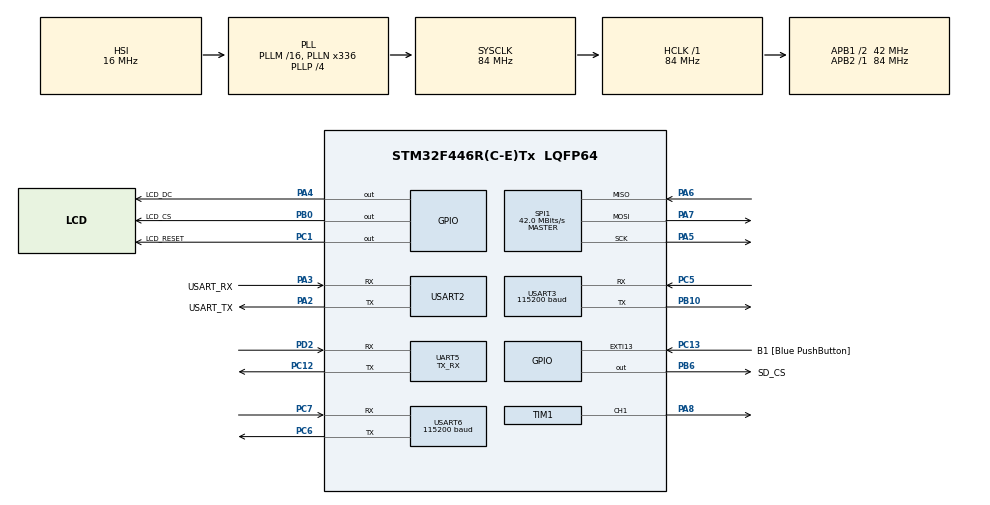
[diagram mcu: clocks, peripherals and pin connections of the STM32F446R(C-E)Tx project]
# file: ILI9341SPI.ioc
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Dma.Request0=USART3_RX
Dma.Request1=USART6_RX
Dma.USART3_RX.0.Direction=DMA_PERIPH_TO_MEMORY
Dma.USART3_RX.0.FIFOMode=DMA_FIFOMODE_DISABLE
Dma.USART3_RX.0.Instance=DMA1_Stream1
Dma.USART3_RX.0.MemDataAlignment=DMA_MDATAALIGN_BYTE
Dma.USART3_RX.0.MemInc=DMA_MINC_ENABLE
Dma.USART3_RX.0.Mode=DMA_NORMAL
Dma.USART3_RX.0.PeriphDataAlignment=DMA_PDATAALIGN_BYTE
Dma.USART3_RX.0.PeriphInc=DMA_PINC_DISABLE
Dma.USART3_RX.0.Priority=DMA_PRIORITY_LOW
Dma.USART6_RX.1.Direction=DMA_PERIPH_TO_MEMORY
Dma.USART6_RX.1.FIFOMode=DMA_FIFOMODE_DISABLE
Dma.USART6_RX.1.Instance=DMA2_Stream1
Dma.USART6_RX.1.MemDataAlignment=DMA_MDATAALIGN_BYTE
Dma.USART6_RX.1.MemInc=DMA_MINC_ENABLE
Dma.USART6_RX.1.Mode=DMA_NORMAL
Dma.USART6_RX.1.PeriphDataAlignment=DMA_PDATAALIGN_BYTE
Dma.USART6_RX.1.PeriphInc=DMA_PINC_DISABLE
Dma.USART6_RX.1.Priority=DMA_PRIORITY_LOW
Mcu.Family=STM32F4
Mcu.Name=STM32F446R(C-E)Tx
Mcu.Package=LQFP64
NVIC.DMA1_Stream1_IRQn=true\:0\:0\:false\:false\:true\:false\:true\:true
NVIC.DMA2_Stream1_IRQn=true\:0\:0\:false\:false\:true\:false\:true\:true
NVIC.PriorityGroup=NVIC_PRIORITYGROUP_0
NVIC.TIM2_IRQn=true\:0\:0\:false\:false\:true\:true\:true\:true
NVIC.USART3_IRQn=true\:0\:0\:false\:false\:true\:true\:true\:true
NVIC.USART6_IRQn=true\:0\:0\:false\:false\:true\:true\:true\:true
PA13.GPIO_Label=TMS
PA13.Mode=Serial_Wire
PA13.Signal=SYS_JTMS-SWDIO
PA14.GPIO_Label=TCK
PA14.Mode=Serial_Wire
PA14.Signal=SYS_JTCK-SWCLK
PA2.GPIO_Label=USART_TX
PA2.Mode=Asynchronous
PA2.Signal=USART2_TX
PA3.GPIO_Label=USART_RX
PA3.Mode=Asynchronous
PA3.Signal=USART2_RX
PA4.GPIO_Label=LCD_DC
PA4.GPIO_Speed=GPIO_SPEED_FREQ_MEDIUM
PA4.Signal=GPIO_Output
PA5.Mode=Full_Duplex_Master
PA5.Signal=SPI1_SCK
PA6.Mode=Full_Duplex_Master
PA6.Signal=SPI1_MISO
PA7.Mode=Full_Duplex_Master
PA7.Signal=SPI1_MOSI
PA8.Signal=S_TIM1_CH1
PB0.GPIO_Label=LCD_CS
PB0.GPIO_Speed=GPIO_SPEED_FREQ_MEDIUM
PB0.Signal=GPIO_Output
PB10.Mode=Asynchronous
PB10.Signal=USART3_TX
PB3.GPIO_Label=SWO
PB3.Signal=SYS_JTDO-SWO
PB6.GPIO_Label=SD_CS
PB6.GPIO_Speed=GPIO_SPEED_FREQ_MEDIUM
PB6.Signal=GPIO_Output
PC1.GPIO_Label=LCD_RESET
PC1.GPIO_Speed=GPIO_SPEED_FREQ_MEDIUM
PC1.Signal=GPIO_Output
PC12.Mode=Asynchronous
PC12.Signal=UART5_TX
PC13.GPIO_Label=B1 [Blue PushButton]
PC13.GPIO_ModeDefaultEXTI=GPIO_MODE_IT_FALLING
PC13.Signal=GPXTI13
PC14-OSC32_IN.Mode=LSE-External-Oscillator
PC14-OSC32_IN.Signal=RCC_OSC32_IN
PC15-OSC32_OUT.Mode=LSE-External-Oscillator
PC15-OSC32_OUT.Signal=RCC_OSC32_OUT
PC5.Mode=Asynchronous
PC5.Signal=USART3_RX
PC6.Mode=Asynchronous
PC6.Signal=USART6_TX
PC7.Mode=Asynchronous
PC7.Signal=USART6_RX
PD2.Mode=Asynchronous
PD2.Signal=UART5_RX
PH0-OSC_IN.Mode=HSE-External-Oscillator
PH0-OSC_IN.Signal=RCC_OSC_IN
PH1-OSC_OUT.Mode=HSE-External-Oscillator
PH1-OSC_OUT.Signal=RCC_OSC_OUT
ProjectManager.HeapSize=0x200
ProjectManager.StackSize=0x400
ProjectManager.TargetToolchain=STM32CubeIDE
RCC.48MHZClocksFreq_Value=84000000
RCC.AHBFreq_Value=84000000
RCC.APB1CLKDivider=RCC_HCLK_DIV2
RCC.APB1Freq_Value=42000000
RCC.APB1TimFreq_Value=84000000
RCC.APB2Freq_Value=84000000
RCC.APB2TimFreq_Value=84000000
RCC.CortexFreq_Value=84000000
RCC.FLatency-AdvancedSettings=FLASH_LATENCY_2
RCC.HCLKFreq_Value=84000000
RCC.HSE_VALUE=8000000
RCC.HSI_VALUE=16000000
RCC.PLLN=336
RCC.PLLP=RCC_PLLP_DIV4
RCC.SYSCLKFreq_VALUE=84000000
RCC.SYSCLKSource=RCC_SYSCLKSOURCE_PLLCLK
RCC.USBFreq_Value=168000000
RCC.VCOOutputFreq_Value=336000000
SH.S_TIM1_CH1.0=TIM1_CH1,PWM Generation1 CH1
SPI1.BaudRatePrescaler=SPI_BAUDRATEPRESCALER_2
SPI1.CalculateBaudRate=42.0 MBits/s
SPI1.Direction=SPI_DIRECTION_2LINES
SPI1.Mode=SPI_MODE_MASTER
SPI1.VirtualType=VM_MASTER
TIM1.Channel-PWM\ Generation1\ CH1=TIM_CHANNEL_1
TIM1.Period=100-1
TIM1.Pulse-PWM\ Generation1\ CH1=50
TIM2.AutoReloadPreload=TIM_AUTORELOAD_PRELOAD_ENABLE
TIM2.Period=999
TIM2.Prescaler=83
TIM2.TIM_MasterOutputTrigger=TIM_TRGO_UPDATE
UART5.Mode=MODE_TX_RX
UART5.OverSampling=UART_OVERSAMPLING_8
UART5.VirtualMode=Asynchronous
USART2.VirtualMode=VM_ASYNC
USART3.BaudRate=115200
USART3.Mode=MODE_RX
USART3.OverSampling=UART_OVERSAMPLING_8
USART3.VirtualMode=VM_ASYNC
USART6.BaudRate=115200
USART6.Mode=MODE_RX
USART6.OverSampling=UART_OVERSAMPLING_8
USART6.VirtualMode=VM_ASYNC
VP_TIM1_VS_ClockSourceINT.Mode=Internal
VP_TIM2_VS_ClockSourceINT.Mode=Internal
board=NUCLEO-F446RE

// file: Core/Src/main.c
/* USER CODE BEGIN Header */
/**
 ******************************************************************************
 * @file           : main.c
 * @brief          : Main program body
 ******************************************************************************
 * @attention
 *
 * Copyright (c) 2024 STMicroelectronics.
 * All rights reserved.
 *
 * This software is licensed under terms that can be found in the LICENSE file
 * in the root directory of this software component.
 * If no LICENSE file comes with this software, it is provided AS-IS.
 *
 ******************************************************************************
 */
/* USER CODE END Header */
#include "main.h"

/* USER CODE BEGIN Includes */
#include "ili9341.h"
#include "bitmaps.h"
#include "NOTES_PSC.h"
#include <string.h>
/* USER CODE END Includes */

SPI_HandleTypeDef hspi1;

TIM_HandleTypeDef htim1;
TIM_HandleTypeDef htim2;

UART_HandleTypeDef huart5;
UART_HandleTypeDef huart2;
UART_HandleTypeDef huart3;
UART_HandleTypeDef huart6;
DMA_HandleTypeDef hdma_usart3_rx;
DMA_HandleTypeDef hdma_usart6_rx;

/* USER CODE BEGIN PV */
extern const uint16_t fondo[];
extern const uint16_t pista5[];

uint8_t rx_control1[1];
uint8_t rx_control2[1];

uint16_t dir_x_car1 = 155;
uint16_t dir_y_car1 = 208;
volatile uint16_t new_x_car1, new_y_car1;
volatile uint8_t move_ready1 = 0;
volatile char cmd1 = 0;
uint8_t indx1 = 1;

uint16_t dir_x_car2 = 155;
uint16_t dir_y_car2 = 192;
volatile uint16_t new_x_car2, new_y_car2;
volatile uint8_t move_ready2 = 0;
volatile char cmd2 = 0;
uint8_t indx2 = 1;

uint8_t STEP_SIZE = 8;

//uint16_t note_index = 0;
//uint32_t last_note_time = 0;

#define TOTAL_NOTES (sizeof(mk_notes)/sizeof(uint16_t))

// Para usar con timer en lugar de delay
volatile uint16_t note_index = 0;
volatile uint32_t note_time = 0;
volatile uint8_t note_on = 1;

// Variables para meta
#define FINISH_X 150
#define FINISH_Y1 180
#define FINISH_Y2 220
uint16_t prev_x_car1, prev_x_car2;

uint8_t laps_car1 = 0;
uint8_t laps_car2 = 0;

uint8_t crossed_car1 = 0;
uint8_t crossed_car2 = 0;

// Check point
#define CP1_X 131
#define CP1_Y1 10
#define CP1_Y2 70

uint8_t cp_car2 = 0;
uint8_t cp_car1 = 0;

// Canciones PWM
// ------------------------ Cancion para Pwm ------------------------------
uint16_t mk_notes[] = {
    PSC_FS4, PSC_A4, PSC_B4,
    PSC_D5, PSC_CS5, PSC_B4,
    PSC_A4, PSC_FS4,

    PSC_D4, PSC_FS4, PSC_A4,
    PSC_B4, PSC_A4, PSC_FS4,
    PSC_E4, PSC_D4,

    PSC_FS4, PSC_A4, PSC_B4,
    PSC_D5, PSC_CS5, PSC_B4,
    PSC_A4, PSC_FS4,

    PSC_E4, PSC_FS4, PSC_G4,
    PSC_A4, PSC_B4, PSC_A4,
    PSC_FS4,

	PSC_A4, PSC_B4, PSC_C5,
	PSC_B4, PSC_A4, PSC_G4,
	PSC_FS4, PSC_E4,

	PSC_D4, PSC_E4, PSC_FS4,
	PSC_A4, PSC_G4, PSC_FS4,
	PSC_E4, PSC_D4
};

uint16_t mk_durations[] = {
    200, 200, 300,
    200, 200, 300,
    200, 400,

    200, 200, 300,
    200, 200, 300,
    200, 400,

    200, 200, 300,
    200, 200, 300,
    200, 400,

    200, 200, 200,
    200, 300, 200,
    400,

	200, 200, 300,
	200, 200, 200,
	300, 400,

	200, 200, 200,
	300, 200, 200,
	300, 400
};

// Tile set
#define TILE_SIZE 16
#define MAP_W 20
#define MAP_H 15

uint8_t collision_map[MAP_H][MAP_W];

// ================================================================================

/* USER CODE END PV */

void SystemClock_Config(void);
static void MX_GPIO_Init(void);
static void MX_DMA_Init(void);
static void MX_USART2_UART_Init(void);
static void MX_SPI1_Init(void);
static void MX_USART3_UART_Init(void);
static void MX_USART6_UART_Init(void);
static void MX_TIM1_Init(void);
static void MX_TIM2_Init(void);
static void MX_UART5_Init(void);

/* USER CODE BEGIN 0 */

int check_collision(uint16_t x1, uint16_t y1,
                    uint16_t x2, uint16_t y2)
{
    return (x1 < x2 + 16 &&
            x1 + 16 > x2 &&
            y1 < y2 + 16 &&
            y1 + 16 > y2);
}

/* USER CODE END 0 */

int main(void)
{

  /* MCU Configuration--------------------------------------------------------*/

  /* Reset of all peripherals, Initializes the Flash interface and the Systick. */
  HAL_Init();

  /* Configure the system clock */
  SystemClock_Config();

  /* Initialize all configured peripherals */
  MX_GPIO_Init();
  MX_DMA_Init();
  MX_USART2_UART_Init();
  MX_SPI1_Init();
  MX_USART3_UART_Init();
  MX_USART6_UART_Init();
  MX_TIM1_Init();
  MX_TIM2_Init();
  MX_UART5_Init();
  /* USER CODE BEGIN 2 */
	LCD_Init();
	HAL_TIM_Base_Start_IT(&htim2);
	HAL_TIM_PWM_Start(&htim1, TIM_CHANNEL_1);

	LCD_Clear(0x00);

	LCD_Bitmap(0, 0, 320, 240, pista5);
//	FillRect(0, 0, 319, 206, 0x421b);
//
	//LCD_Print("Hola Mundo", 20, 100, 2, 0x001F, 0xCAB9);

	//LCD_Sprite(int x, int y, int width, int height, unsigned char bitmap[],int columns, int index, char flip, char offset);
	//LCD_Sprite(60,100,32,32,pesaSprite,4,3,0,1);

	//LCD_Bitmap(unsigned int x, unsigned int y, unsigned int width, unsigned int height, unsigned char bitmap[]);
	//LCD_Bitmap(0, 0, 320, 240, fondo);

	//for (int x = 0; x < 319; x++) {
	//	LCD_Bitmap(x, 116, 15, 15, tile);
	//	LCD_Bitmap(x, 68, 15, 15, tile);
	//	LCD_Bitmap(x, 207, 15, 15, tile);
	//	LCD_Bitmap(x, 223, 15, 15, tile);
	//	x += 15;
	//}

	//LCD_Bitmap(50,10, 22, 22, car1);

	//LCD_BitmapTransparent(50, 12+22, 22, 22, car1, 0xbdf7);
	LCD_Sprite(dir_x_car2, dir_y_car2, 16, 16, cars1, 4, 1, 0, 0);
	LCD_Sprite(dir_x_car1, dir_y_car1, 16, 16, cars2, 4, 1, 0, 0);

	HAL_UART_Receive_DMA(&huart3, rx_control1, sizeof(rx_control1));
	HAL_UART_Receive_DMA(&huart6, rx_control2, sizeof(rx_control2));

	// Crear mapa de colisiones
	for(int ty = 0; ty < MAP_H; ty++){
		for(int tx = 0; tx < MAP_W; tx++){

			int px = tx * TILE_SIZE;
			int py = ty * TILE_SIZE;

			int gray_pixels = 0;

			for(int i=0; i<TILE_SIZE; i++){
				for(int j=0; j<TILE_SIZE; j++){

					uint16_t color = pista5[(py+i)*320 + (px+j)];

					if(color == 0x9cf3)// SOLO gris es válido
						gray_pixels++;
				}
			}

			// umbral
			if(gray_pixels > (TILE_SIZE * TILE_SIZE * 8 / 10))
				collision_map[ty][tx] = 0; // libre
			else
				collision_map[ty][tx] = 1; // bloqueado
		}
	}

	char data = '1';
	HAL_UART_Transmit(&huart5, &data, 1, 100);
  /* USER CODE END 2 */

  /* Infinite loop */
  /* USER CODE BEGIN WHILE */
	while (1) {
		// Cancion de menu
		 //play_melody(mk_notes, mk_durations, sizeof(mk_notes)/sizeof(uint16_t));
		//play_melody_non_blocking();
		// =========================
		// CONTROL CARRO 2
		// =========================
		if(move_ready2){

		    // guardar posición anterior
		    uint16_t prev_x = dir_x_car2;
		    uint16_t prev_y = dir_y_car2;
		    prev_x_car2 = dir_x_car2;
		    // =========================
		    // MOVIMIENTO EN X
		    // =========================
		    int left   = new_x_car2 / 16;
		    int right  = (new_x_car2 + 15) / 16;
		    int top    = dir_y_car2 / 16;
		    int bottom = (dir_y_car2 + 15) / 16;

		    if(collision_map[top][left] == 0 &&
		       collision_map[top][right] == 0 &&
		       collision_map[bottom][left] == 0 &&
		       collision_map[bottom][right] == 0 &&
		       !check_collision(new_x_car2, dir_y_car2, dir_x_car1, dir_y_car1))
		    {
		        dir_x_car2 = new_x_car2;
		    }

		    // =========================
		    // MOVIMIENTO EN Y
		    // =========================
		    left   = dir_x_car2 / 16;
		    right  = (dir_x_car2 + 15) / 16;
		    top    = new_y_car2 / 16;
		    bottom = (new_y_car2 + 15) / 16;

		    if(collision_map[top][left] == 0 &&
		       collision_map[top][right] == 0 &&
		       collision_map[bottom][left] == 0 &&
		       collision_map[bottom][right] == 0 &&
		       !check_collision(dir_x_car2, new_y_car2, dir_x_car1, dir_y_car1))
		    {

		        dir_y_car2 = new_y_car2;
		    }

		    // =========================
		    // BORRADO
		    // =========================
		    int dx = dir_x_car2 - prev_x;
		    int dy = dir_y_car2 - prev_y;

		    if(dx > 0){ // derecha
		        for(int i = 0; i < STEP_SIZE; i++){
		            V_line(prev_x + i, prev_y, 16, 0x9cf3);
		        }
		        indx2 = 1;
		    }
		    else if(dx < 0){ // izquierda
		        for(int i = 0; i < STEP_SIZE; i++){
		            V_line(prev_x + 15 - i, prev_y, 16, 0x9cf3);
		        }
		        indx2 = 2;
		    }

		    if(dy > 0){ // abajo
		        for(int i = 0; i < STEP_SIZE; i++){
		            H_line(prev_x, prev_y + i, 16, 0x9cf3);
		        }
		        indx2 = 3;
		    }
		    else if(dy < 0){ // arriba
		        for(int i = 0; i < STEP_SIZE; i++){
		            H_line(prev_x, prev_y + 15 - i, 16, 0x9cf3);
		        }
		        indx2 = 0;
		    }

		    // =========================
		    // DIBUJO
		    // =========================
		    LCD_Sprite(dir_x_car2, dir_y_car2, 16, 16, cars1, 4, indx2, 0, 0);

		    move_ready2 = 0;
		}

		// Control 1
		if(move_ready1){

		    // 🔹 guardar posición anterior
		    uint16_t prev_x = dir_x_car1;
		    uint16_t prev_y = dir_y_car1;
		    prev_x_car1 = dir_x_car1;
		    // =========================
		    // MOVIMIENTO EN X
		    // =========================
		    int left   = new_x_car1 / 16;
		    int right  = (new_x_car1 + 15) / 16;
		    int top    = dir_y_car1 / 16;
		    int bottom = (dir_y_car1 + 15) / 16;

		    if(collision_map[top][left] == 0 &&
		       collision_map[top][right] == 0 &&
		       collision_map[bottom][left] == 0 &&
		       collision_map[bottom][right] == 0 &&
		       !check_collision(new_x_car1, dir_y_car1, dir_x_car2, dir_y_car2))
		    {
		        dir_x_car1 = new_x_car1;
		    }

		    // =========================
		    // MOVIMIENTO EN Y
		    // =========================
		    left   = dir_x_car1 / 16;
		    right  = (dir_x_car1 + 15) / 16;
		    top    = new_y_car1 / 16;
		    bottom = (new_y_car1 + 15) / 16;

		    if(collision_map[top][left] == 0 &&
		       collision_map[top][right] == 0 &&
		       collision_map[bottom][left] == 0 &&
		       collision_map[bottom][right] == 0 &&
		       !check_collision(dir_x_car1, new_y_car1, dir_x_car2, dir_y_car2))
		    {
		        dir_y_car1 = new_y_car1;
		    }

		    // =========================
		    // BORRADO del tamaño de STEP_SIZE
		    // =========================
		    int dx = dir_x_car1 - prev_x;
		    int dy = dir_y_car1 - prev_y;

		    // borrar en X
		    if(dx > 0){ // derecha
		        for(int i = 0; i < STEP_SIZE; i++){
		            V_line(prev_x + i, prev_y, 16, 0x9cf3);
		        }
		        indx1 = 1;
		    }
		    else if(dx < 0){ // izquierda
		        for(int i = 0; i < STEP_SIZE; i++){
		            V_line(prev_x + 15 - i, prev_y, 16, 0x9cf3);
		        }
		        indx1 = 2;
		    }

		    // borrar en Y
		    if(dy > 0){ // abajo
		        for(int i = 0; i < STEP_SIZE; i++){
		            H_line(prev_x, prev_y + i, 16, 0x9cf3);
		        }
		        indx1 = 3;
		    }
		    else if(dy < 0){ // arriba
		        for(int i = 0; i < STEP_SIZE; i++){
		            H_line(prev_x, prev_y + 15 - i, 16, 0x9cf3);
		        }
		        indx1 = 0;
		    }

		    // =========================
		    // DIBUJO
		    // =========================
		    LCD_Sprite(dir_x_car1, dir_y_car1, 16, 16, cars2, 4, indx1, 0, 0);

		    move_ready1 = 0;
		}

		// Logica de meta para carro 2
		if(cp_car2 == 0 &&
		   prev_x_car2 > CP1_X && dir_x_car2 <= CP1_X &&
		   dir_y_car2 > CP1_Y1 && dir_y_car2 < CP1_Y2)
		{
		    cp_car2 = 1;
		}

		if(cp_car2 == 1 &&
		   prev_x_car2 < FINISH_X && dir_x_car2 >= FINISH_X &&
		   dir_y_car2 > FINISH_Y1 && dir_y_car2 < FINISH_Y2)
		{
		    if(!crossed_car2){
		        laps_car2++;
		        crossed_car2 = 1;
		        cp_car2 = 0;
		    }
		}
		else{
		    crossed_car2 = 0;
		}

		// Lógica meta para carro
		if(cp_car1 == 0 &&
		   prev_x_car1 > CP1_X && dir_x_car1 <= CP1_X &&
		   dir_y_car1 > CP1_Y1 && dir_y_car1 < CP1_Y2)
		{
		    cp_car1 = 1;
		}

		if(cp_car1 == 1 &&
		   prev_x_car1 < FINISH_X && dir_x_car1 >= FINISH_X &&
		   dir_y_car1 > FINISH_Y1 && dir_y_car1 < FINISH_Y2)
		{
		    if(!crossed_car1){
		        laps_car1++;
		        crossed_car1 = 1;
		        cp_car1 = 0;
		    }
		}
		else{
		    crossed_car1 = 0;
		}

    /* USER CODE END WHILE */

	}
}

void SystemClock_Config(void)
{
  RCC_OscInitTypeDef RCC_OscInitStruct = {0};
  RCC_ClkInitTypeDef RCC_ClkInitStruct = {0};

  /** Configure the main internal regulator output voltage
  */
  __HAL_RCC_PWR_CLK_ENABLE();
  __HAL_PWR_VOLTAGESCALING_CONFIG(PWR_REGULATOR_VOLTAGE_SCALE3);

  /** Initializes the RCC Oscillators according to the specified parameters
  * in the RCC_OscInitTypeDef structure.
  */
  RCC_OscInitStruct.OscillatorType = RCC_OSCILLATORTYPE_HSI;
  RCC_OscInitStruct.HSIState = RCC_HSI_ON;
  RCC_OscInitStruct.HSICalibrationValue = RCC_HSICALIBRATION_DEFAULT;
  RCC_OscInitStruct.PLL.PLLState = RCC_PLL_ON;
  RCC_OscInitStruct.PLL.PLLSource = RCC_PLLSOURCE_HSI;
  RCC_OscInitStruct.PLL.PLLM = 16;
  RCC_OscInitStruct.PLL.PLLN = 336;
  RCC_OscInitStruct.PLL.PLLP = RCC_PLLP_DIV4;
  RCC_OscInitStruct.PLL.PLLQ = 2;
  RCC_OscInitStruct.PLL.PLLR = 2;
  if (HAL_RCC_OscConfig(&RCC_OscInitStruct) != HAL_OK)
  {
    Error_Handler();
  }

  /** Initializes the CPU, AHB and APB buses clocks
  */
  RCC_ClkInitStruct.ClockType = RCC_CLOCKTYPE_HCLK|RCC_CLOCKTYPE_SYSCLK
                              |RCC_CLOCKTYPE_PCLK1|RCC_CLOCKTYPE_PCLK2;
  RCC_ClkInitStruct.SYSCLKSource = RCC_SYSCLKSOURCE_PLLCLK;
  RCC_ClkInitStruct.AHBCLKDivider = RCC_SYSCLK_DIV1;
  RCC_ClkInitStruct.APB1CLKDivider = RCC_HCLK_DIV2;
  RCC_ClkInitStruct.APB2CLKDivider = RCC_HCLK_DIV1;

  if (HAL_RCC_ClockConfig(&RCC_ClkInitStruct, FLASH_LATENCY_2) != HAL_OK)
  {
    Error_Handler();
  }
}

static void MX_SPI1_Init(void)
{

  /* SPI1 parameter configuration*/
  hspi1.Instance = SPI1;
  hspi1.Init.Mode = SPI_MODE_MASTER;
  hspi1.Init.Direction = SPI_DIRECTION_2LINES;
  hspi1.Init.DataSize = SPI_DATASIZE_8BIT;
  hspi1.Init.CLKPolarity = SPI_POLARITY_LOW;
  hspi1.Init.CLKPhase = SPI_PHASE_1EDGE;
  hspi1.Init.NSS = SPI_NSS_SOFT;
  hspi1.Init.BaudRatePrescaler = SPI_BAUDRATEPRESCALER_2;
  hspi1.Init.FirstBit = SPI_FIRSTBIT_MSB;
  hspi1.Init.TIMode = SPI_TIMODE_DISABLE;
  hspi1.Init.CRCCalculation = SPI_CRCCALCULATION_DISABLE;
  hspi1.Init.CRCPolynomial = 10;
  if (HAL_SPI_Init(&hspi1) != HAL_OK)
  {
    Error_Handler();
  }

}

static void MX_TIM1_Init(void)
{

  TIM_ClockConfigTypeDef sClockSourceConfig = {0};
  TIM_MasterConfigTypeDef sMasterConfig = {0};
  TIM_OC_InitTypeDef sConfigOC = {0};
  TIM_BreakDeadTimeConfigTypeDef sBreakDeadTimeConfig = {0};

  htim1.Instance = TIM1;
  htim1.Init.Prescaler = 0;
  htim1.Init.CounterMode = TIM_COUNTERMODE_UP;
  htim1.Init.Period = 100-1;
  htim1.Init.ClockDivision = TIM_CLOCKDIVISION_DIV1;
  htim1.Init.RepetitionCounter = 0;
  htim1.Init.AutoReloadPreload = TIM_AUTORELOAD_PRELOAD_DISABLE;
  if (HAL_TIM_Base_Init(&htim1) != HAL_OK)
  {
    Error_Handler();
  }
  sClockSourceConfig.ClockSource = TIM_CLOCKSOURCE_INTERNAL;
  if (HAL_TIM_ConfigClockSource(&htim1, &sClockSourceConfig) != HAL_OK)
  {
    Error_Handler();
  }
  if (HAL_TIM_PWM_Init(&htim1) != HAL_OK)
  {
    Error_Handler();
  }
  sMasterConfig.MasterOutputTrigger = TIM_TRGO_RESET;
  sMasterConfig.MasterSlaveMode = TIM_MASTERSLAVEMODE_DISABLE;
  if (HAL_TIMEx_MasterConfigSynchronization(&htim1, &sMasterConfig) != HAL_OK)
  {
    Error_Handler();
  }
  sConfigOC.OCMode = TIM_OCMODE_PWM1;
  sConfigOC.Pulse = 50;
  sConfigOC.OCPolarity = TIM_OCPOLARITY_HIGH;
  sConfigOC.OCNPolarity = TIM_OCNPOLARITY_HIGH;
  sConfigOC.OCFastMode = TIM_OCFAST_DISABLE;
  sConfigOC.OCIdleState = TIM_OCIDLESTATE_RESET;
  sConfigOC.OCNIdleState = TIM_OCNIDLESTATE_RESET;
  if (HAL_TIM_PWM_ConfigChannel(&htim1, &sConfigOC, TIM_CHANNEL_1) != HAL_OK)
  {
    Error_Handler();
  }
  sBreakDeadTimeConfig.OffStateRunMode = TIM_OSSR_DISABLE;
  sBreakDeadTimeConfig.OffStateIDLEMode = TIM_OSSI_DISABLE;
  sBreakDeadTimeConfig.LockLevel = TIM_LOCKLEVEL_OFF;
  sBreakDeadTimeConfig.DeadTime = 0;
  sBreakDeadTimeConfig.BreakState = TIM_BREAK_DISABLE;
  sBreakDeadTimeConfig.BreakPolarity = TIM_BREAKPOLARITY_HIGH;
  sBreakDeadTimeConfig.AutomaticOutput = TIM_AUTOMATICOUTPUT_DISABLE;
  if (HAL_TIMEx_ConfigBreakDeadTime(&htim1, &sBreakDeadTimeConfig) != HAL_OK)
  {
    Error_Handler();
  }
  HAL_TIM_MspPostInit(&htim1);

}

static void MX_TIM2_Init(void)
{

  TIM_ClockConfigTypeDef sClockSourceConfig = {0};
  TIM_MasterConfigTypeDef sMasterConfig = {0};

  htim2.Instance = TIM2;
  htim2.Init.Prescaler = 83;
  htim2.Init.CounterMode = TIM_COUNTERMODE_UP;
  htim2.Init.Period = 999;
  htim2.Init.ClockDivision = TIM_CLOCKDIVISION_DIV1;
  htim2.Init.AutoReloadPreload = TIM_AUTORELOAD_PRELOAD_ENABLE;
  if (HAL_TIM_Base_Init(&htim2) != HAL_OK)
  {
    Error_Handler();
  }
  sClockSourceConfig.ClockSource = TIM_CLOCKSOURCE_INTERNAL;
  if (HAL_TIM_ConfigClockSource(&htim2, &sClockSourceConfig) != HAL_OK)
  {
    Error_Handler();
  }
  sMasterConfig.MasterOutputTrigger = TIM_TRGO_UPDATE;
  sMasterConfig.MasterSlaveMode = TIM_MASTERSLAVEMODE_DISABLE;
  if (HAL_TIMEx_MasterConfigSynchronization(&htim2, &sMasterConfig) != HAL_OK)
  {
    Error_Handler();
  }

}

static void MX_UART5_Init(void)
{

  huart5.Instance = UART5;
  huart5.Init.BaudRate = 115200;
  huart5.Init.WordLength = UART_WORDLENGTH_8B;
  huart5.Init.StopBits = UART_STOPBITS_1;
  huart5.Init.Parity = UART_PARITY_NONE;
  huart5.Init.Mode = UART_MODE_TX_RX;
  huart5.Init.HwFlowCtl = UART_HWCONTROL_NONE;
  huart5.Init.OverSampling = UART_OVERSAMPLING_8;
  if (HAL_UART_Init(&huart5) != HAL_OK)
  {
    Error_Handler();
  }

}

static void MX_USART2_UART_Init(void)
{

  huart2.Instance = USART2;
  huart2.Init.BaudRate = 115200;
  huart2.Init.WordLength = UART_WORDLENGTH_8B;
  huart2.Init.StopBits = UART_STOPBITS_1;
  huart2.Init.Parity = UART_PARITY_NONE;
  huart2.Init.Mode = UART_MODE_TX_RX;
  huart2.Init.HwFlowCtl = UART_HWCONTROL_NONE;
  huart2.Init.OverSampling = UART_OVERSAMPLING_16;
  if (HAL_UART_Init(&huart2) != HAL_OK)
  {
    Error_Handler();
  }

}

static void MX_USART3_UART_Init(void)
{

  huart3.Instance = USART3;
  huart3.Init.BaudRate = 115200;
  huart3.Init.WordLength = UART_WORDLENGTH_8B;
  huart3.Init.StopBits = UART_STOPBITS_1;
  huart3.Init.Parity = UART_PARITY_NONE;
  huart3.Init.Mode = UART_MODE_RX;
  huart3.Init.HwFlowCtl = UART_HWCONTROL_NONE;
  huart3.Init.OverSampling = UART_OVERSAMPLING_8;
  if (HAL_UART_Init(&huart3) != HAL_OK)
  {
    Error_Handler();
  }

}

static void MX_USART6_UART_Init(void)
{

  huart6.Instance = USART6;
  huart6.Init.BaudRate = 115200;
  huart6.Init.WordLength = UART_WORDLENGTH_8B;
  huart6.Init.StopBits = UART_STOPBITS_1;
  huart6.Init.Parity = UART_PARITY_NONE;
  huart6.Init.Mode = UART_MODE_RX;
  huart6.Init.HwFlowCtl = UART_HWCONTROL_NONE;
  huart6.Init.OverSampling = UART_OVERSAMPLING_8;
  if (HAL_UART_Init(&huart6) != HAL_OK)
  {
    Error_Handler();
  }

}

static void MX_DMA_Init(void)
{

  /* DMA controller clock enable */
  __HAL_RCC_DMA1_CLK_ENABLE();
  __HAL_RCC_DMA2_CLK_ENABLE();

  /* DMA interrupt init */
  /* DMA1_Stream1_IRQn interrupt configuration */
  HAL_NVIC_SetPriority(DMA1_Stream1_IRQn, 0, 0);
  HAL_NVIC_EnableIRQ(DMA1_Stream1_IRQn);
  /* DMA2_Stream1_IRQn interrupt configuration */
  HAL_NVIC_SetPriority(DMA2_Stream1_IRQn, 0, 0);
  HAL_NVIC_EnableIRQ(DMA2_Stream1_IRQn);

}

static void MX_GPIO_Init(void)
{
  GPIO_InitTypeDef GPIO_InitStruct = {0};

  /* GPIO Ports Clock Enable */
  __HAL_RCC_GPIOC_CLK_ENABLE();
  __HAL_RCC_GPIOH_CLK_ENABLE();
  __HAL_RCC_GPIOA_CLK_ENABLE();
  __HAL_RCC_GPIOB_CLK_ENABLE();
  __HAL_RCC_GPIOD_CLK_ENABLE();

  /*Configure GPIO pin Output Level */
  HAL_GPIO_WritePin(LCD_RESET_GPIO_Port, LCD_RESET_Pin, GPIO_PIN_RESET);

  /*Configure GPIO pin Output Level */
  HAL_GPIO_WritePin(LCD_DC_GPIO_Port, LCD_DC_Pin, GPIO_PIN_RESET);

  /*Configure GPIO pin Output Level */
  HAL_GPIO_WritePin(GPIOB, LCD_CS_Pin|SD_CS_Pin, GPIO_PIN_RESET);

  /*Configure GPIO pin : B1_Pin */
  GPIO_InitStruct.Pin = B1_Pin;
  GPIO_InitStruct.Mode = GPIO_MODE_IT_FALLING;
  GPIO_InitStruct.Pull = GPIO_NOPULL;
  HAL_GPIO_Init(B1_GPIO_Port, &GPIO_InitStruct);

  /*Configure GPIO pin : LCD_RESET_Pin */
  GPIO_InitStruct.Pin = LCD_RESET_Pin;
  GPIO_InitStruct.Mode = GPIO_MODE_OUTPUT_PP;
  GPIO_InitStruct.Pull = GPIO_NOPULL;
  GPIO_InitStruct.Speed = GPIO_SPEED_FREQ_MEDIUM;
  HAL_GPIO_Init(LCD_RESET_GPIO_Port, &GPIO_InitStruct);

  /*Configure GPIO pin : LCD_DC_Pin */
  GPIO_InitStruct.Pin = LCD_DC_Pin;
  GPIO_InitStruct.Mode = GPIO_MODE_OUTPUT_PP;
  GPIO_InitStruct.Pull = GPIO_NOPULL;
  GPIO_InitStruct.Speed = GPIO_SPEED_FREQ_MEDIUM;
  HAL_GPIO_Init(LCD_DC_GPIO_Port, &GPIO_InitStruct);

  /*Configure GPIO pins : LCD_CS_Pin SD_CS_Pin */
  GPIO_InitStruct.Pin = LCD_CS_Pin|SD_CS_Pin;
  GPIO_InitStruct.Mode = GPIO_MODE_OUTPUT_PP;
  GPIO_InitStruct.Pull = GPIO_NOPULL;
  GPIO_InitStruct.Speed = GPIO_SPEED_FREQ_MEDIUM;
  HAL_GPIO_Init(GPIOB, &GPIO_InitStruct);

}

/* USER CODE BEGIN 4 */
// Interrupciones

void HAL_UART_RxCpltCallback(UART_HandleTypeDef *huart)
{
	if (huart == &huart3)
	{
	    cmd1 = rx_control1[0];

	    new_x_car1 = dir_x_car1;
	    new_y_car1 = dir_y_car1;

	    switch(cmd1){
	        case 'r': new_x_car1 += STEP_SIZE; break;
	        case 'l': new_x_car1 -= STEP_SIZE; break;
	        case 'u': new_y_car1 -= STEP_SIZE; break;
	        case 'd': new_y_car1 += STEP_SIZE; break;
	    }

	    move_ready1 = 1;

	    HAL_UART_Receive_DMA(&huart3, rx_control1, 1);
	}
    if (huart == &huart6)
        {
    	if (huart == &huart6)
    	{
    	    cmd2 = rx_control2[0];

    	    new_x_car2 = dir_x_car2;
    	    new_y_car2 = dir_y_car2;

    	    switch(cmd2){
    	        case 'r': new_x_car2 += STEP_SIZE; break;
    	        case 'l': new_x_car2 -= STEP_SIZE; break;
    	        case 'u': new_y_car2 -= STEP_SIZE; break;
    	        case 'd': new_y_car2 += STEP_SIZE; break;
    	    }

    	    move_ready2 = 1;

    	    HAL_UART_Receive_DMA(&huart6, rx_control2, 1);
    	}
            HAL_UART_Receive_DMA(&huart6, rx_control2, 1);
        }
}

/* USER CODE END 4 */

void Error_Handler(void)
{
	__disable_irq();
	while (1) {
	}
}
